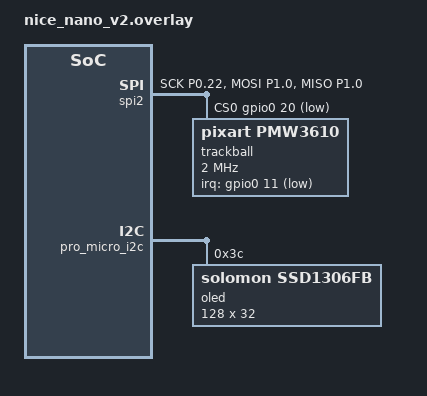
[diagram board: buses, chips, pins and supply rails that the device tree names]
#include <zephyr/dt-bindings/input/input-event-codes.h>

&pinctrl {
    spi2_default: spi2_default {
        group1 {
            psels = <NRF_PSEL(SPIM_SCK, 0, 22)>,
                <NRF_PSEL(SPIM_MOSI, 1, 0)>,
                <NRF_PSEL(SPIM_MISO, 1, 0)>;
        };
    };

    spi2_sleep: spi2_sleep {
        group1 {
            psels = <NRF_PSEL(SPIM_SCK, 0, 22)>,
                <NRF_PSEL(SPIM_MOSI, 1, 0)>,
                <NRF_PSEL(SPIM_MISO, 1, 0)>;
            low-power-enable;
        };
    };

    i2c0_default: i2c0_default {
        group1 {
            psels = <NRF_PSEL(TWIM_SDA, 0, 8)>,
                <NRF_PSEL(TWIM_SCL, 0, 6)>;
        };
    };

    i2c0_sleep: i2c0_sleep {
        group1 {
            psels = <NRF_PSEL(TWIM_SDA, 0, 8)>,
                <NRF_PSEL(TWIM_SCL, 0, 6)>;
            low-power-enable;
        };
    };
};

&spi2 {
    status = "okay";
    compatible = "nordic,nrf-spim";
    pinctrl-0 = <&spi2_default>;
    pinctrl-1 = <&spi2_sleep>;
    pinctrl-names = "default", "sleep";
    cs-gpios = <&gpio0 20 GPIO_ACTIVE_LOW>;

    trackball: trackball@0 {
        status = "okay";
        compatible = "pixart,pmw3610";
        reg = <0>;
        spi-max-frequency = <2000000>;
        irq-gpios = <&gpio0 11 (GPIO_ACTIVE_LOW | GPIO_PULL_UP)>;
        cpi = <600>;
        evt-type = <INPUT_EV_REL>;
        x-input-code = <INPUT_REL_X>;
        y-input-code = <INPUT_REL_Y>;
    };
};

&pro_micro_i2c {
    status = "okay";

    oled: ssd1306@3c {
        compatible = "solomon,ssd1306fb";
        reg = <0x3c>;
        width = <128>;
        height = <32>;
        segment-offset = <0>;
        page-offset = <0>;
        display-offset = <0>;
        multiplex-ratio = <31>;
        segment-remap;
        com-invdir;
        com-sequential;
        inversion-on;
        prechargep = <0x22>;
    };
};
